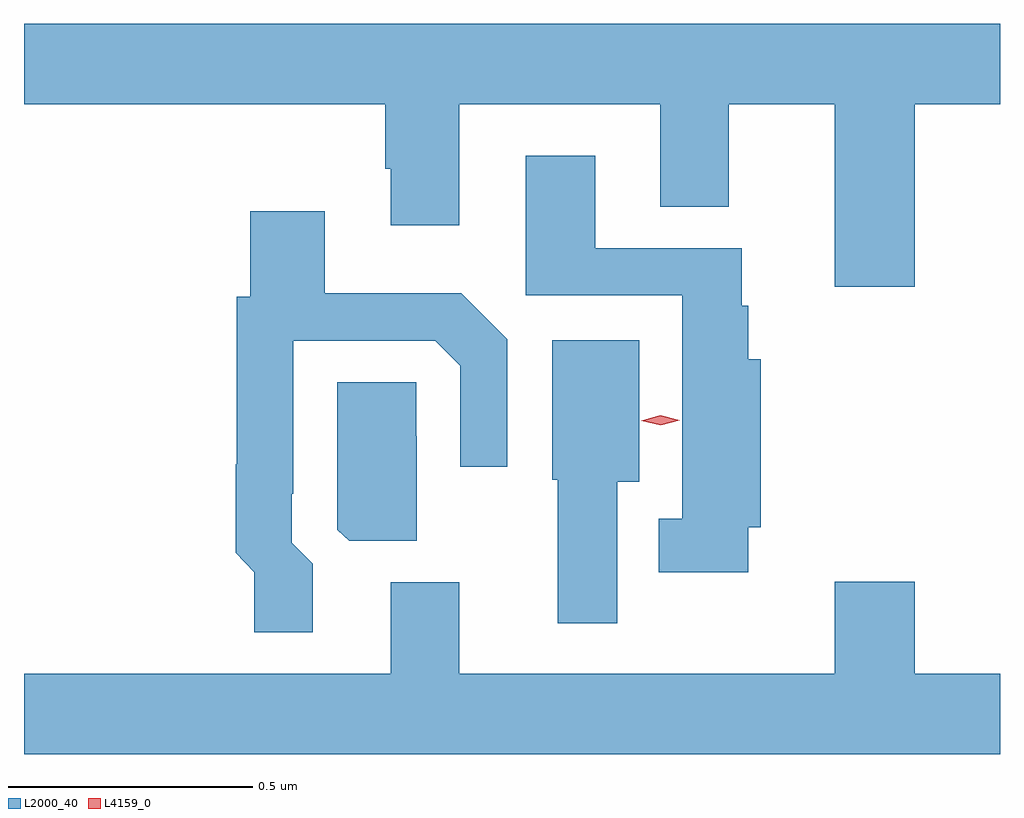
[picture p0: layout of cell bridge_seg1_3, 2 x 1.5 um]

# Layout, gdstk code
import gdstk
lib = gdstk.Library(unit=1e-6, precision=1e-09)
def P(c, l, *ps):  # polygons
    for p in ps: c.add(gdstk.Polygon(p, *l))
L2000_40 = (2000, 40)
L4159_0 = (4159, 0)

bridge_seg1_3 = lib.new_cell('bridge_seg1_3')
P(bridge_seg1_3, L2000_40, [(728.608,554.396),(728.783,554.396),(728.783,554.56),(726.783,554.56),(726.783,554.396),(727.523,554.396),(727.523,554.263),(727.535,554.263),(727.535,554.148),(727.675,554.148),(727.675,554.396),(728.087,554.396),(728.087,554.185),(728.227,554.185),(728.227,554.396),(728.444,554.396),(728.444,554.022),(728.608,554.022)],
  [(728.267,553.529),(728.293,553.529),(728.293,553.873),(728.267,553.873),(728.267,553.983),(728.254,553.983),(728.254,554.1),(727.954,554.1),(727.954,554.29),(727.811,554.29),(727.811,554.004),(728.132,554.004),(728.132,553.546),(728.084,553.546),(728.084,553.436),(728.267,553.436)],
  [(727.375,553.454),(727.332,553.497),(727.332,553.597),(727.335,553.597),(727.335,553.911),(727.626,553.911),(727.677,553.86),(727.677,553.653),(727.773,553.653),(727.773,553.914),(727.679,554.008),(727.399,554.008),(727.399,554.176),(727.247,554.176),(727.247,554.001),(727.219,554.001),(727.219,553.658),(727.217,553.658),(727.217,553.476),(727.255,553.437),(727.255,553.314),(727.375,553.314)],
  [(727.999,553.622),(728.044,553.622),(728.044,553.912),(727.865,553.912),(727.865,553.626),(727.877,553.626),(727.877,553.332),(727.999,553.332)],
  [(727.588,553.715),(727.587,553.715),(727.587,553.826),(727.425,553.826),(727.425,553.524),(727.449,553.501),(727.588,553.501)],
  [(728.783,553.228),(728.608,553.228),(728.608,553.417),(728.444,553.417),(728.444,553.228),(727.675,553.228),(727.675,553.416),(727.535,553.416),(727.535,553.228),(726.783,553.228),(726.783,553.064),(728.783,553.064)])
P(bridge_seg1_3, L4159_0, [(728.088,553.738),(728.048,553.747),(728.048,553.747),(728.048,553.747),(728.087,553.758),(728.127,553.748),(728.127,553.748),(728.127,553.748)])

lib.write_gds('bridge_seg1_3.gds')
